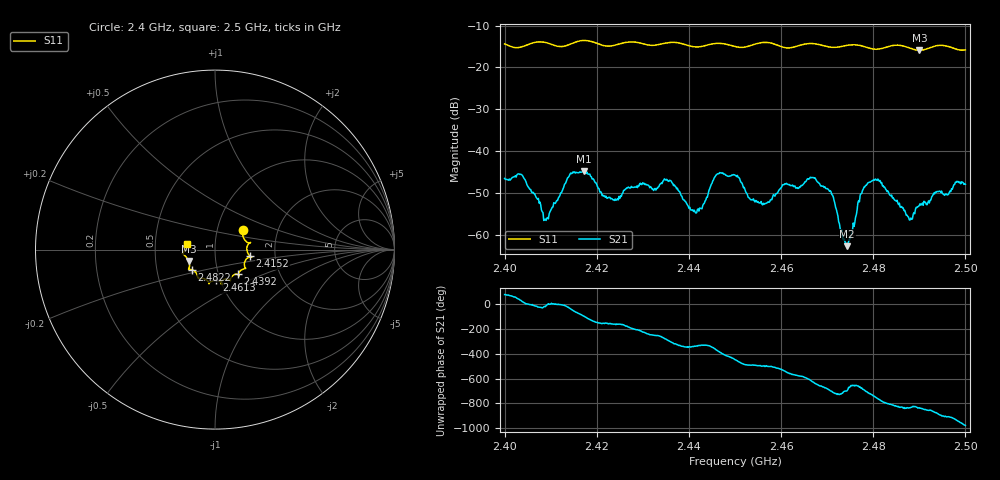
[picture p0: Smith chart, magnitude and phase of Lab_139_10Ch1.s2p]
# Hz S RI R 50
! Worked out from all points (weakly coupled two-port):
!   601 points, 2.4 GHz to 2.5 GHz, reference 50 ohm
!   highest |S21| = -44.90 dB at 2.4172 GHz (marker M1); lowest = -62.8 dB at 2.4743 GHz (marker M2)
!   lowest |S11| = -15.9 dB at 2.49 GHz (marker M3), VSWR 1.38, Z = 36.9 - j4.83 ohm
!   |S11| at or under -10 dB: start of sweep to end of sweep
!   S12 and S22 are empty: the file has one direction only
!   S11 on the Smith chart (normalised r, x): 2.4 GHz: 1.33, +0.31; 2.4152 GHz: 1.48, -0.11; 2.4392 GHz: 1.23, -0.35; 2.4613 GHz: 0.96, -0.34; 2.4822 GHz: 0.76, -0.17; 2.5 GHz: 0.73, +0.05
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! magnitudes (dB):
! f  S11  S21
! 2.4 GHz  -14.4  -46.6
! 2.4038 GHz  -15.1  -45.8
! 2.409 GHz  -14.1  -56.6
! 2.4152 GHz  -14.0  -45.0
! 2.4167 GHz  -13.6  -45.1
! 2.4172 GHz  -13.6  -44.9
! 2.4238 GHz  -14.7  -51.8
! 2.4333 GHz  -14.6  -48.6
! 2.4392 GHz  -14.6  -52.0
! 2.4418 GHz  -15.1  -54.1
! 2.45 GHz  -15.0  -45.8
! 2.4558 GHz  -14.1  -52.7
! 2.4613 GHz  -15.4  -47.9
! 2.4667 GHz  -14.3  -46.4
! 2.4708 GHz  -15.2  -49.7
! 2.4743 GHz  -14.7  -62.8
! 2.4782 GHz  -15.1  -48.6
! 2.4822 GHz  -15.4  -48.3
! 2.4833 GHz  -15.0  -49.9
! 2.488 GHz  -15.4  -56.5
! 2.49 GHz  -15.9  -53.0
! 2.5 GHz  -15.8  -48.0
